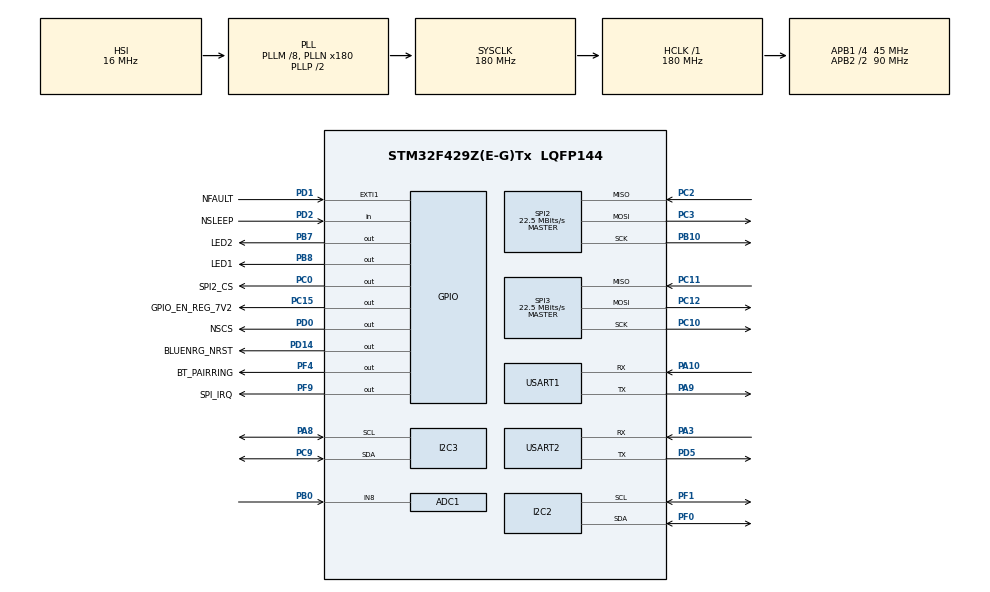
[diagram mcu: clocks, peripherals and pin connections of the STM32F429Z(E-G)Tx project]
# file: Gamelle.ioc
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ADC1.Channel-10\#ChannelRegularConversion=ADC_CHANNEL_8
ADC1.NbrOfConversionFlag=1
ADC1.Rank-10\#ChannelRegularConversion=1
ADC1.SamplingTime-10\#ChannelRegularConversion=ADC_SAMPLETIME_3CYCLES
ADC1.master=1
Mcu.Family=STM32F4
Mcu.Name=STM32F429Z(E-G)Tx
Mcu.Package=LQFP144
NVIC.PriorityGroup=NVIC_PRIORITYGROUP_4
PA10.Mode=Asynchronous
PA10.Signal=USART1_RX
PA13.Mode=JTAG_5_pins
PA13.Signal=SYS_JTMS-SWDIO
PA14.Mode=JTAG_5_pins
PA14.Signal=SYS_JTCK-SWCLK
PA15.Mode=JTAG_5_pins
PA15.Signal=SYS_JTDI
PA3.Mode=Asynchronous
PA3.Signal=USART2_RX
PA8.Mode=I2C
PA8.Signal=I2C3_SCL
PA9.Mode=Asynchronous
PA9.Signal=USART1_TX
PB0.Signal=ADCx_IN8
PB10.Mode=Full_Duplex_Master
PB10.Signal=SPI2_SCK
PB3.Mode=JTAG_5_pins
PB3.Signal=SYS_JTDO-SWO
PB4.Mode=JTAG_5_pins
PB4.Signal=SYS_JTRST
PB7.GPIO_Label=LED2
PB7.Signal=GPIO_Output
PB8.GPIO_Label=LED1
PB8.Signal=GPIO_Output
PC0.GPIO_Label=SPI2_CS
PC0.Signal=GPIO_Output
PC10.Mode=Full_Duplex_Master
PC10.Signal=SPI3_SCK
PC11.Mode=Full_Duplex_Master
PC11.Signal=SPI3_MISO
PC12.Mode=Full_Duplex_Master
PC12.Signal=SPI3_MOSI
PC15/OSC32_OUT.GPIO_Label=GPIO_EN_REG_7V2
PC15/OSC32_OUT.Signal=GPIO_Output
PC2.Mode=Full_Duplex_Master
PC2.Signal=SPI2_MISO
PC3.Mode=Full_Duplex_Master
PC3.Signal=SPI2_MOSI
PC9.Mode=I2C
PC9.Signal=I2C3_SDA
PD0.GPIO_Label=NSCS
PD0.Signal=GPIO_Output
PD1.GPIO_Label=NFAULT
PD1.Signal=GPXTI1
PD14.GPIO_Label=BLUENRG_NRST
PD14.Signal=GPIO_Output
PD2.GPIO_Label=NSLEEP
PD2.Signal=GPIO_Input
PD5.Mode=Asynchronous
PD5.Signal=USART2_TX
PF0.Mode=I2C
PF0.Signal=I2C2_SDA
PF1.Mode=I2C
PF1.Signal=I2C2_SCL
PF4.GPIO_Label=BT_PAIRRING
PF4.Signal=GPIO_Output
PF9.GPIO_Label=SPI_IRQ
PF9.Signal=GPIO_Output
PH0/OSC_IN.Mode=HSE-External-Oscillator
PH0/OSC_IN.Signal=RCC_OSC_IN
PH1/OSC_OUT.Mode=HSE-External-Oscillator
PH1/OSC_OUT.Signal=RCC_OSC_OUT
ProjectManager.HeapSize=0x200
ProjectManager.StackSize=0x400
ProjectManager.TargetToolchain=STM32CubeIDE
RCC.48MHZClocksFreq_Value=90000000
RCC.AHBFreq_Value=180000000
RCC.APB1CLKDivider=RCC_HCLK_DIV4
RCC.APB1Freq_Value=45000000
RCC.APB1TimFreq_Value=90000000
RCC.APB2CLKDivider=RCC_HCLK_DIV2
RCC.APB2Freq_Value=90000000
RCC.APB2TimFreq_Value=180000000
RCC.CortexFreq_Value=180000000
RCC.HCLKFreq_Value=180000000
RCC.HSE_VALUE=8000000
RCC.HSI_VALUE=16000000
RCC.LSE_VALUE=32768
RCC.PLLM=8
RCC.PLLN=180
RCC.SYSCLKFreq_VALUE=180000000
RCC.SYSCLKSource=RCC_SYSCLKSOURCE_PLLCLK
RCC.VCOOutputFreq_Value=360000000
SH.ADCx_IN8.0=ADC1_IN8,IN8
SPI2.CalculateBaudRate=22.5 MBits/s
SPI2.Direction=SPI_DIRECTION_2LINES
SPI2.Mode=SPI_MODE_MASTER
SPI2.VirtualType=VM_MASTER
SPI3.CalculateBaudRate=22.5 MBits/s
SPI3.Direction=SPI_DIRECTION_2LINES
SPI3.Mode=SPI_MODE_MASTER
SPI3.VirtualType=VM_MASTER
USART1.VirtualMode=VM_ASYNC
USART2.VirtualMode=VM_ASYNC
VP_TIM10_VS_ClockSourceINT.Mode=Enable_Timer
board=custom

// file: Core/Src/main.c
/* USER CODE BEGIN Header */
/**
  ******************************************************************************
  * @file           : main.c
  * @brief          : Main program body
  ******************************************************************************
  * @attention
  *
  * Copyright (c) 2023 STMicroelectronics.
  * All rights reserved.
  *
  * This software is licensed under terms that can be found in the LICENSE file
  * in the root directory of this software component.
  * If no LICENSE file comes with this software, it is provided AS-IS.
  *
  ******************************************************************************
  */
/* USER CODE END Header */
#include "main.h"
#include "adc.h"
#include "i2c.h"
#include "spi.h"
#include "tim.h"
#include "usart.h"
#include "gpio.h"

void SystemClock_Config(void);

int main(void)
{

  /* MCU Configuration--------------------------------------------------------*/

  /* Reset of all peripherals, Initializes the Flash interface and the Systick. */
  HAL_Init();

  /* Configure the system clock */
  SystemClock_Config();

  /* Initialize all configured peripherals */
  MX_GPIO_Init();
  MX_SPI2_Init();
  MX_I2C2_Init();
  MX_USART1_UART_Init();
  MX_USART2_UART_Init();
  MX_ADC1_Init();
  MX_I2C3_Init();
  MX_SPI3_Init();
  MX_TIM10_Init();
  /* USER CODE BEGIN 2 */

  /*Allumage de la pin En_Reg*/
  HAL_GPIO_WritePin(GPIO_EN_REG_7V2_GPIO_Port, GPIO_EN_REG_7V2_Pin, GPIO_PIN_SET);
  HAL_Delay(500U);

  /* USER CODE END 2 */

  /* Infinite loop */
  while (1)
  {

    /* USER CODE BEGIN 3 */
	  /*Allumage de la LED1*/
//	  sprintf("Test");
	  HAL_GPIO_WritePin(LED1_GPIO_Port, LED1_Pin, GPIO_PIN_SET);
	  HAL_Delay(500U);
	  HAL_GPIO_WritePin(LED1_GPIO_Port, LED1_Pin, GPIO_PIN_RESET);
	  HAL_Delay(500U);

	  /*Allumage de la LED2*/
	  HAL_GPIO_WritePin(LED2_GPIO_Port, LED2_Pin, GPIO_PIN_SET);
	  HAL_Delay(500U);
	  HAL_GPIO_WritePin(LED2_GPIO_Port, LED2_Pin, GPIO_PIN_RESET);
	  HAL_Delay(500U);

	  /*Allumage des 2 LED*/
	  HAL_GPIO_WritePin(LED1_GPIO_Port, LED1_Pin, GPIO_PIN_SET);
	  HAL_GPIO_WritePin(LED2_GPIO_Port, LED2_Pin, GPIO_PIN_SET);
	  HAL_Delay(500U);
	  HAL_GPIO_WritePin(LED1_GPIO_Port, LED1_Pin, GPIO_PIN_RESET);
	  HAL_GPIO_WritePin(LED2_GPIO_Port, LED2_Pin, GPIO_PIN_RESET);
	  HAL_Delay(500U);

  }
  /* USER CODE END 3 */
}

void SystemClock_Config(void)
{
  RCC_OscInitTypeDef RCC_OscInitStruct = {0};
  RCC_ClkInitTypeDef RCC_ClkInitStruct = {0};

  /** Configure the main internal regulator output voltage
  */
  __HAL_RCC_PWR_CLK_ENABLE();
  __HAL_PWR_VOLTAGESCALING_CONFIG(PWR_REGULATOR_VOLTAGE_SCALE1);

  /** Initializes the RCC Oscillators according to the specified parameters
  * in the RCC_OscInitTypeDef structure.
  */
  RCC_OscInitStruct.OscillatorType = RCC_OSCILLATORTYPE_HSI;
  RCC_OscInitStruct.HSIState = RCC_HSI_ON;
  RCC_OscInitStruct.HSICalibrationValue = RCC_HSICALIBRATION_DEFAULT;
  RCC_OscInitStruct.PLL.PLLState = RCC_PLL_ON;
  RCC_OscInitStruct.PLL.PLLSource = RCC_PLLSOURCE_HSI;
  RCC_OscInitStruct.PLL.PLLM = 8;
  RCC_OscInitStruct.PLL.PLLN = 180;
  RCC_OscInitStruct.PLL.PLLP = RCC_PLLP_DIV2;
  RCC_OscInitStruct.PLL.PLLQ = 4;
  if (HAL_RCC_OscConfig(&RCC_OscInitStruct) != HAL_OK)
  {
    Error_Handler();
  }

  /** Activate the Over-Drive mode
  */
  if (HAL_PWREx_EnableOverDrive() != HAL_OK)
  {
    Error_Handler();
  }

  /** Initializes the CPU, AHB and APB buses clocks
  */
  RCC_ClkInitStruct.ClockType = RCC_CLOCKTYPE_HCLK|RCC_CLOCKTYPE_SYSCLK
                              |RCC_CLOCKTYPE_PCLK1|RCC_CLOCKTYPE_PCLK2;
  RCC_ClkInitStruct.SYSCLKSource = RCC_SYSCLKSOURCE_PLLCLK;
  RCC_ClkInitStruct.AHBCLKDivider = RCC_SYSCLK_DIV1;
  RCC_ClkInitStruct.APB1CLKDivider = RCC_HCLK_DIV4;
  RCC_ClkInitStruct.APB2CLKDivider = RCC_HCLK_DIV2;

  if (HAL_RCC_ClockConfig(&RCC_ClkInitStruct, FLASH_LATENCY_5) != HAL_OK)
  {
    Error_Handler();
  }
}

void Error_Handler(void)
{
  __disable_irq();
  while (1)
  {
  }
}
